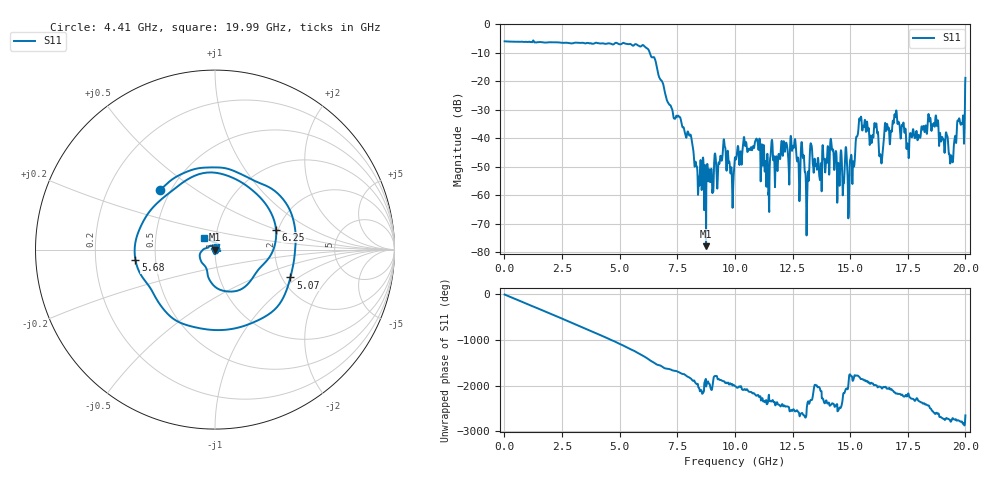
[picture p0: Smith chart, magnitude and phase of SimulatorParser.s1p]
# MHz MA S R 50.0
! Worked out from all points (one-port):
!   2000 points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, 10 MHz to 20 GHz, reference 50 ohm
!   lowest |S11| = -77.8 dB at 8.75 GHz (marker M1), VSWR 1.00, Z = 50 + j0.0087 ohm
!   |S11| at or under -10 dB: 6.308 GHz to end of sweep
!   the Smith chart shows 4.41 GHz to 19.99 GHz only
!   S11 on the Smith chart (normalised r, x): 4.41 GHz: 0.44, +0.37; 5.07 GHz: 2.22, -0.86; 5.68 GHz: 0.38, -0.06; 6.25 GHz: 1.95, +0.50; 19.99 GHz: 0.88, +0.12
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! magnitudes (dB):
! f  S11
! 10 MHz  -6.0
! 2.51 GHz  -6.5
! 4.41 GHz  -6.9
! 5.01 GHz  -7.0
! 5.07 GHz  -7.0
! 5.68 GHz  -7.0
! 6.25 GHz  -8.9
! 7.51 GHz  -32.4
! 8.75 GHz  -77.8
! 9.5 GHz  -41.5
! 10.01 GHz  -46.6
! 10.98 GHz  -41.0
! 11.4 GHz  -45.9
! 12.51 GHz  -43.1
! 12.96 GHz  -46.7
! 13.12 GHz  -67.0
! 13.32 GHz  -42.4
! 14.21 GHz  -43.6
! 15.01 GHz  -47.4
! 15.47 GHz  -32.4
! 16.13 GHz  -34.8
! 16.34 GHz  -47.5
! 16.94 GHz  -31.8
! 17.51 GHz  -42.7
! 18.72 GHz  -32.0
! 19.38 GHz  -46.0
! 19.99 GHz  -20.9
! 20 GHz  -18.8
